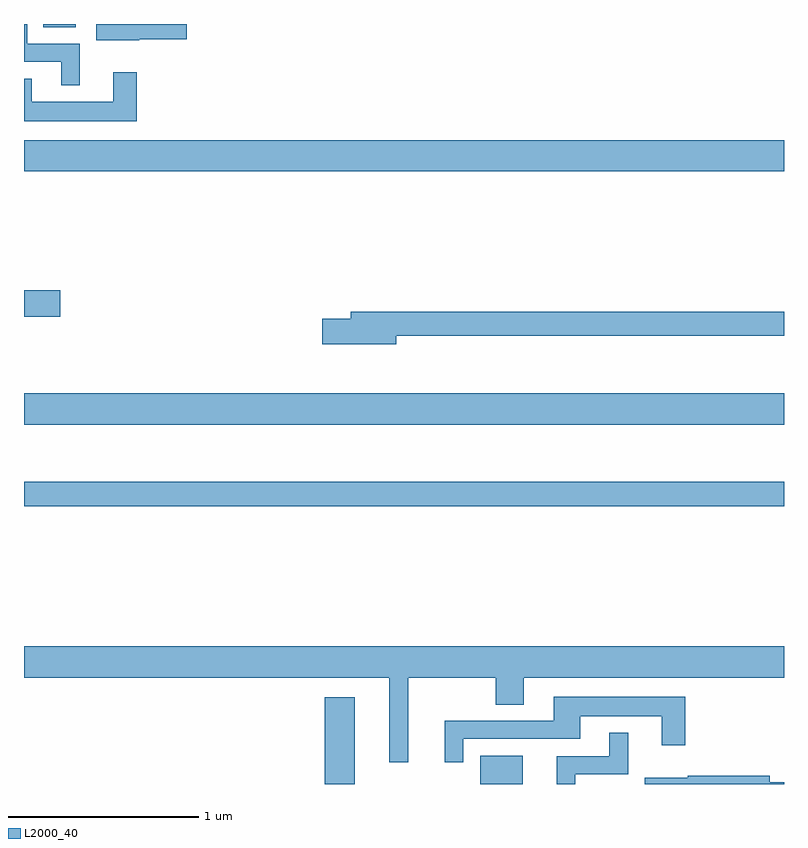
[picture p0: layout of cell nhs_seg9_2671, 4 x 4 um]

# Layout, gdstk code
import gdstk
lib = gdstk.Library(unit=1e-6, precision=1e-09)
def R(c, l, rs):  # rectangles x0, y0, x1, y1
    for r in rs: c.add(gdstk.rectangle(r[:2], r[2:], *l))
def P(c, l, *ps):  # polygons
    for p in ps: c.add(gdstk.Polygon(p, *l))
L2000_40 = (2000, 40)

nhs_seg9_2671 = lib.new_cell('nhs_seg9_2671')
R(nhs_seg9_2671, L2000_40, [(264.584,1222.5,264.742,1222.957), (265.4,1222.5,265.624,1222.648), (263,1223.962,267,1224.091), (263,1224.392,267,1224.556), (263,1224.958,263.191,1225.1), (263,1225.724,267,1225.888), (263.101,1226.482,263.272,1226.5)])
P(nhs_seg9_2671, L2000_40, [(263.607,1226.42),(263.857,1226.42),(263.857,1226.5),(263.381,1226.5),(263.381,1226.414),(263.607,1226.414)],
  [(263.293,1226.397),(263.016,1226.397),(263.016,1226.5),(263,1226.5),(263,1226.301),(263.195,1226.301),(263.195,1226.177),(263.293,1226.177)],
  [(263.593,1226.245),(263.471,1226.245),(263.471,1226.092),(263.041,1226.092),(263.041,1226.211),(263,1226.211),(263,1225.988),(263.593,1225.988)],
  [(264.958,1224.858),(267,1224.858),(267,1224.986),(264.719,1224.986),(264.719,1224.95),(264.57,1224.95),(264.57,1224.815),(264.958,1224.815)],
  [(265.022,1223.06),(265.483,1223.06),(265.483,1222.918),(265.63,1222.918),(265.63,1223.06),(267,1223.06),(267,1223.224),(263,1223.224),(263,1223.06),(264.923,1223.06),(264.923,1222.614),(265.022,1222.614)],
  [(265.311,1222.737),(265.927,1222.737),(265.927,1222.856),(266.357,1222.856),(266.357,1222.704),(266.479,1222.704),(266.479,1222.96),(265.787,1222.96),(265.787,1222.833),(265.214,1222.833),(265.214,1222.614),(265.311,1222.614)],
  [(265.902,1222.551),(266.179,1222.551),(266.179,1222.771),(266.081,1222.771),(266.081,1222.647),(265.805,1222.647),(265.805,1222.5),(265.902,1222.5)],
  [(267,1222.508),(266.926,1222.508),(266.926,1222.544),(266.493,1222.544),(266.493,1222.534),(266.267,1222.534),(266.267,1222.5),(267,1222.5)])

lib.write_gds('nhs_seg9_2671.gds')
